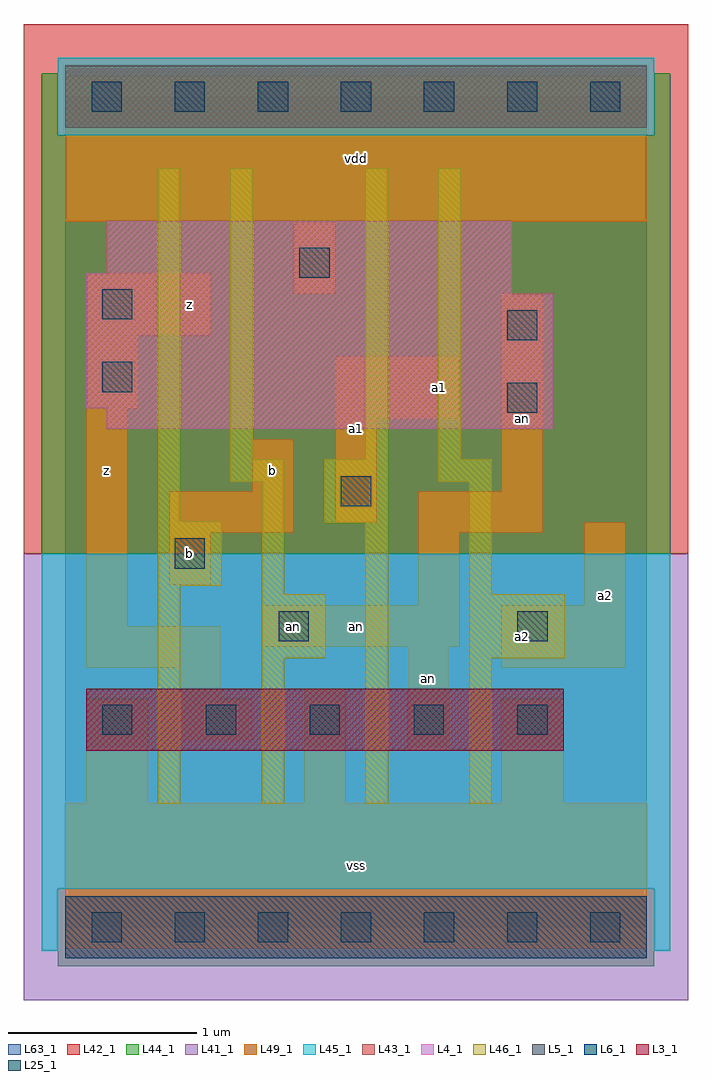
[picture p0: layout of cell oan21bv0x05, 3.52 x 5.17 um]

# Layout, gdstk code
import gdstk
lib = gdstk.Library(unit=1e-6, precision=1e-09)
def R(c, l, rs):  # rectangles x0, y0, x1, y1
    for r in rs: c.add(gdstk.rectangle(r[:2], r[2:], *l))
def A(c, l, x, y, w, h, nx, ny, dx, dy):  # array of equal rectangles
    R(c, l, [(x+i*dx, y+j*dy, x+i*dx+w, y+j*dy+h) for i in range(nx) for j in range(ny)])
L3_1 = (3, 1)
L4_1 = (4, 1)
L5_1 = (5, 1)
L6_1 = (6, 1)
L25_1 = (25, 1)
L41_1 = (41, 1)
L42_1 = (42, 1)
L43_1 = (43, 1)
L44_1 = (44, 1)
L45_1 = (45, 1)
L46_1 = (46, 1)
L49_1 = (49, 1)
L63_1 = (63, 1)

oan21bv0x05 = lib.new_cell('oan21bv0x05')
R(oan21bv0x05, L3_1, [(0.11,0.935,2.64,1.265)])
R(oan21bv0x05, L4_1, [(0.22,2.64,2.585,2.75), (0.11,2.75,2.585,3.355), (0.11,3.355,2.365,3.465), (0.22,3.465,2.365,3.74)])
R(oan21bv0x05, L5_1, [(0,4.235,3.08,4.565)])
R(oan21bv0x05, L6_1, [(0,-0.165,3.08,0.165)])
A(oan21bv0x05, L25_1, 0.14, -0.08, 0.16, 0.16, 7, 2, 0.44, 4.4)
A(oan21bv0x05, L25_1, 0.195, 1.02, 0.16, 0.16, 5, 1, 0.55, 0)
R(oan21bv0x05, L25_1, [(1.13,1.515,1.29,1.675), (2.395,1.515,2.555,1.675), (0.58,1.9,0.74,2.06), (1.46,2.23,1.62,2.39), (2.34,2.725,2.5,2.885), (0.195,2.835,0.355,2.995), (2.34,3.11,2.5,3.27), (0.195,3.22,0.355,3.38), (1.24,3.44,1.4,3.6)])
R(oan21bv0x05, L41_1, [(-0.22,-0.385,3.3,1.98)])
R(oan21bv0x05, L42_1, [(-0.22,1.98,3.3,4.785)])
R(oan21bv0x05, L43_1, [(0,-0.165,3.08,0.165), (0.11,0.935,2.64,1.265), (0.22,2.64,2.585,2.75), (0.11,2.75,2.585,3.355), (0.11,3.355,2.365,3.465), (0.22,3.465,2.365,3.74), (0,4.235,3.08,4.565)])
R(oan21bv0x05, L44_1, [(-0.04,-0.205,3.12,0.205), (-0.125,1.98,3.205,4.195), (-0.125,4.195,-0.04,4.525), (3.12,4.195,3.205,4.525)])
R(oan21bv0x05, L45_1, [(-0.125,-0.125,-0.04,0.205), (3.12,-0.125,3.205,0.205), (-0.125,0.205,3.205,1.98), (-0.04,4.195,3.12,4.605)])
R(oan21bv0x05, L46_1, [(0.49,0.655,0.61,1.81), (1.04,0.655,1.16,1.425), (1.59,0.655,1.71,2.14), (2.14,0.655,2.26,1.425), (1.04,1.425,1.38,1.765), (2.14,1.425,2.645,1.765), (1.04,1.765,1.16,2.36), (2.14,1.765,2.26,2.36), (0.49,1.81,0.83,2.15), (1.37,2.14,1.71,2.48), (0.49,2.15,0.61,4.02), (0.875,2.36,1.16,2.48), (1.975,2.36,2.26,2.48), (0.875,2.48,0.995,4.02), (1.59,2.48,1.71,4.02), (1.975,2.48,2.095,4.02)])
R(oan21bv0x05, L49_1, [(0,-0.11,3.08,0.66), (0.11,0.66,0.44,1.21), (1.265,0.66,1.485,1.265), (2.31,0.66,2.64,1.21), (1.815,0.935,2.035,1.485), (0.605,0.99,0.99,1.21), (0.605,1.21,0.825,1.375), (0.11,1.375,0.825,1.595), (2.31,1.375,2.97,1.705), (1.045,1.485,2.09,1.705), (0.11,1.595,0.33,2.75), (1.87,1.705,2.09,2.09), (2.75,1.705,2.97,2.145), (0.55,1.815,0.77,2.09), (0.55,2.09,1.21,2.31), (1.87,2.09,2.53,2.31), (1.43,2.145,1.65,2.695), (0.99,2.31,1.21,2.585), (2.31,2.31,2.53,3.355), (1.43,2.695,2.09,3.025), (0.11,2.75,0.385,3.135), (0.11,3.135,0.77,3.465), (1.21,3.355,1.43,3.74), (0,3.74,3.08,4.51)])
R(oan21bv0x05, L63_1, [(0,0,3.08,4.4)])
oan21bv0x05.add(gdstk.Label('an', (1.21,1.595), layer=49, texttype=1))
oan21bv0x05.add(gdstk.Label('z', (0.22,2.42), layer=49, texttype=1))
oan21bv0x05.add(gdstk.Label('b', (0.66,1.98), layer=49, texttype=1))
oan21bv0x05.add(gdstk.Label('b', (1.1,2.42), layer=49, texttype=1))
oan21bv0x05.add(gdstk.Label('z', (0.66,3.3), layer=49, texttype=1))
oan21bv0x05.add(gdstk.Label('vss', (1.54,0.33), layer=49, texttype=1))
oan21bv0x05.add(gdstk.Label('an', (1.925,1.32), layer=49, texttype=1))
oan21bv0x05.add(gdstk.Label('an', (1.54,1.595), layer=49, texttype=1))
oan21bv0x05.add(gdstk.Label('a1', (1.54,2.64), layer=49, texttype=1))
oan21bv0x05.add(gdstk.Label('a1', (1.98,2.86), layer=49, texttype=1))
oan21bv0x05.add(gdstk.Label('vdd', (1.54,4.07), layer=49, texttype=1))
oan21bv0x05.add(gdstk.Label('a2', (2.42,1.54), layer=49, texttype=1))
oan21bv0x05.add(gdstk.Label('a2', (2.86,1.76), layer=49, texttype=1))
oan21bv0x05.add(gdstk.Label('an', (2.42,2.695), layer=49, texttype=1))

lib.write_gds('oan21bv0x05.gds')
